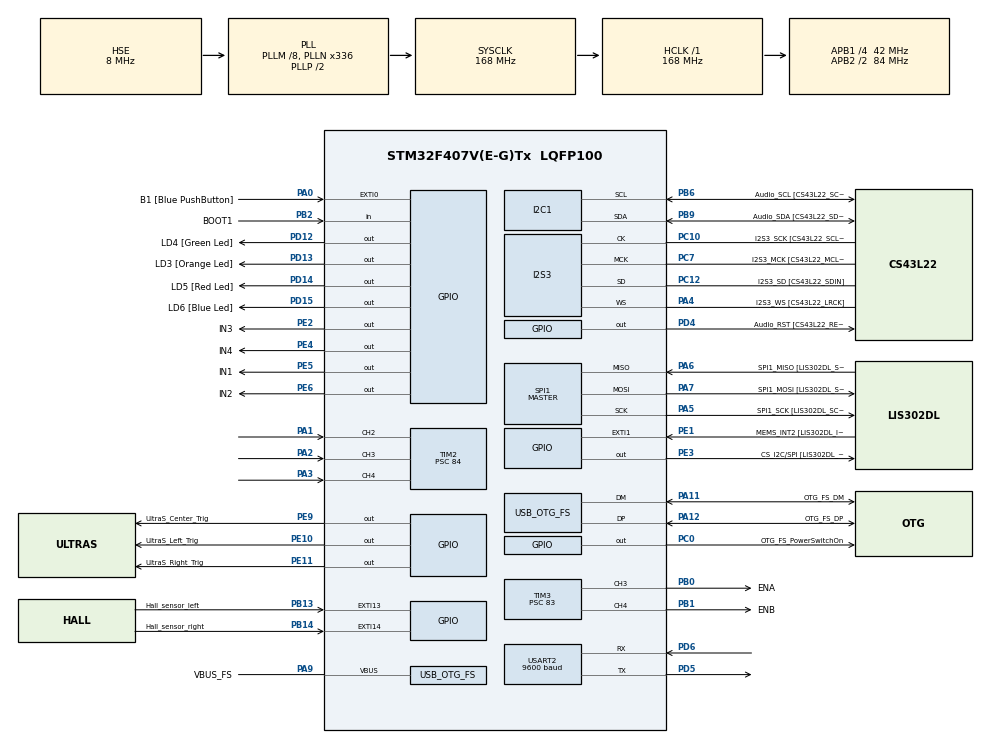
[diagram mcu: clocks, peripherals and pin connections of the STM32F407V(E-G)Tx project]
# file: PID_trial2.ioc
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I2S3.AudioFreq-Half_Duplex_Master=I2S_AUDIOFREQ_96K
I2S3.ErrorAudioFreq=-2.34 %
I2S3.ErrorAudioFreq-Half_Duplex_Master=0.8 %
I2S3.FullDuplexMode=I2S_FULLDUPLEXMODE_DISABLE
I2S3.Instance=SPI$Index
I2S3.RealAudioFreq=93.75 KHz
I2S3.RealAudioFreq-Half_Duplex_Master=96.774 KHz
I2S3.VirtualMode=I2S_MODE_MASTER
Mcu.Family=STM32F4
Mcu.Name=STM32F407V(E-G)Tx
Mcu.Package=LQFP100
NVIC.EXTI15_10_IRQn=true\:0\:0\:false\:false\:true\:true\:true\:true
NVIC.OTG_FS_IRQn=true\:0\:0\:false\:false\:true\:true\:true\:true
NVIC.PriorityGroup=NVIC_PRIORITYGROUP_0
NVIC.TIM2_IRQn=true\:0\:0\:false\:false\:true\:true\:true\:true
NVIC.TIM6_DAC_IRQn=true\:0\:0\:false\:false\:true\:true\:true\:true
NVIC.USART2_IRQn=true\:0\:0\:false\:false\:true\:true\:true\:true
PA0-WKUP.GPIO_Label=B1 [Blue PushButton]
PA0-WKUP.GPIO_ModeDefaultEXTI=GPIO_MODE_EVT_RISING
PA0-WKUP.GPIO_PuPd=GPIO_NOPULL
PA0-WKUP.Signal=GPXTI0
PA1.Signal=S_TIM2_CH2
PA10.GPIO_Label=OTG_FS_ID
PA10.GPIO_Mode=GPIO_MODE_AF_PP
PA10.GPIO_PuPd=GPIO_NOPULL
PA10.GPIO_Speed=GPIO_SPEED_FREQ_LOW
PA10.Signal=USB_OTG_FS_ID
PA11.GPIO_Label=OTG_FS_DM
PA11.GPIO_Mode=GPIO_MODE_AF_PP
PA11.GPIO_PuPd=GPIO_NOPULL
PA11.GPIO_Speed=GPIO_SPEED_FREQ_LOW
PA11.Mode=Host_Only
PA11.Signal=USB_OTG_FS_DM
PA12.GPIO_Label=OTG_FS_DP
PA12.GPIO_Mode=GPIO_MODE_AF_PP
PA12.GPIO_PuPd=GPIO_NOPULL
PA12.GPIO_Speed=GPIO_SPEED_FREQ_LOW
PA12.Mode=Host_Only
PA12.Signal=USB_OTG_FS_DP
PA13.GPIO_Label=SWDIO
PA13.Mode=Serial_Wire
PA13.Signal=SYS_JTMS-SWDIO
PA14.GPIO_Label=SWCLK
PA14.Mode=Serial_Wire
PA14.Signal=SYS_JTCK-SWCLK
PA2.Signal=S_TIM2_CH3
PA3.Signal=S_TIM2_CH4
PA4.GPIO_Label=I2S3_WS [CS43L22_LRCK]
PA4.GPIO_Mode=GPIO_MODE_AF_PP
PA4.GPIO_PuPd=GPIO_NOPULL
PA4.GPIO_Speed=GPIO_SPEED_FREQ_LOW
PA4.Mode=Half_Duplex_Master
PA4.Signal=I2S3_WS
PA5.GPIO_Label=SPI1_SCK [LIS302DL_SCL/SPC]
PA5.GPIO_Mode=GPIO_MODE_AF_PP
PA5.GPIO_PuPd=GPIO_NOPULL
PA5.GPIO_Speed=GPIO_SPEED_FREQ_LOW
PA5.Mode=Full_Duplex_Master
PA5.Signal=SPI1_SCK
PA6.GPIO_Label=SPI1_MISO [LIS302DL_SDO]
PA6.GPIO_Mode=GPIO_MODE_AF_PP
PA6.GPIO_PuPd=GPIO_NOPULL
PA6.GPIO_Speed=GPIO_SPEED_FREQ_LOW
PA6.Mode=Full_Duplex_Master
PA6.Signal=SPI1_MISO
PA7.GPIO_Label=SPI1_MOSI [LIS302DL_SDA/SDI/SDO]
PA7.GPIO_Mode=GPIO_MODE_AF_PP
PA7.GPIO_PuPd=GPIO_NOPULL
PA7.GPIO_Speed=GPIO_SPEED_FREQ_LOW
PA7.Mode=Full_Duplex_Master
PA7.Signal=SPI1_MOSI
PA9.GPIO_Label=VBUS_FS
PA9.GPIO_Mode=GPIO_MODE_INPUT
PA9.GPIO_PuPd=GPIO_NOPULL
PA9.Mode=Activate_VBUS
PA9.Signal=USB_OTG_FS_VBUS
PB0.GPIO_Label=ENA
PB0.Signal=S_TIM3_CH3
PB1.GPIO_Label=ENB
PB1.Signal=S_TIM3_CH4
PB10.GPIO_Label=CLK_IN [MP45DT02_CLK]
PB10.GPIO_Mode=GPIO_MODE_AF_PP
PB10.GPIO_PuPd=GPIO_NOPULL
PB10.GPIO_Speed=GPIO_SPEED_FREQ_LOW
PB10.Signal=I2S2_CK
PB13.GPIO_Label=Hall_sensor_left
PB13.GPIO_PuPd=GPIO_PULLUP
PB13.Signal=GPXTI13
PB14.GPIO_Label=Hall_sensor_right
PB14.GPIO_PuPd=GPIO_PULLUP
PB14.Signal=GPXTI14
PB2.GPIO_Label=BOOT1
PB2.GPIO_Mode=GPIO_MODE_INPUT
PB2.GPIO_PuPd=GPIO_NOPULL
PB2.Signal=GPIO_Input
PB3.GPIO_Label=SWO
PB3.Signal=SYS_JTDO-SWO
PB6.GPIO_Label=Audio_SCL [CS43L22_SCL]
PB6.GPIO_Mode=GPIO_MODE_AF_OD
PB6.GPIO_Pu=GPIO_PULLUP
PB6.GPIO_PuPd=GPIO_NOPULL
PB6.GPIO_Speed=GPIO_SPEED_FREQ_LOW
PB6.Mode=I2C
PB6.Signal=I2C1_SCL
PB9.GPIO_Label=Audio_SDA [CS43L22_SDA]
PB9.GPIO_Mode=GPIO_MODE_AF_OD
PB9.GPIO_Pu=GPIO_PULLUP
PB9.GPIO_PuPd=GPIO_NOPULL
PB9.GPIO_Speed=GPIO_SPEED_FREQ_LOW
PB9.Mode=I2C
PB9.Signal=I2C1_SDA
PC0.GPIO_Label=OTG_FS_PowerSwitchOn
PC0.GPIO_PuPd=GPIO_NOPULL
PC0.GPIO_Speed=GPIO_SPEED_FREQ_LOW
PC0.PinState=GPIO_PIN_SET
PC0.Signal=GPIO_Output
PC10.GPIO_Label=I2S3_SCK [CS43L22_SCLK]
PC10.GPIO_Mode=GPIO_MODE_AF_PP
PC10.GPIO_PuPd=GPIO_NOPULL
PC10.GPIO_Speed=GPIO_SPEED_FREQ_LOW
PC10.Mode=Half_Duplex_Master
PC10.Signal=I2S3_CK
PC12.GPIO_Label=I2S3_SD [CS43L22_SDIN]
PC12.GPIO_Mode=GPIO_MODE_AF_PP
PC12.GPIO_PuPd=GPIO_NOPULL
PC12.GPIO_Speed=GPIO_SPEED_FREQ_LOW
PC12.Mode=Half_Duplex_Master
PC12.Signal=I2S3_SD
PC14-OSC32_IN.GPIO_Label=PC14-OSC32_IN
PC14-OSC32_IN.Mode=LSE-External-Oscillator
PC14-OSC32_IN.Signal=RCC_OSC32_IN
PC15-OSC32_OUT.GPIO_Label=PC15-OSC32_OUT
PC15-OSC32_OUT.Mode=LSE-External-Oscillator
PC15-OSC32_OUT.Signal=RCC_OSC32_OUT
PC3.GPIO_Label=PDM_OUT [MP45DT02_DOUT]
PC3.GPIO_Mode=GPIO_MODE_AF_PP
PC3.GPIO_PuPd=GPIO_NOPULL
PC3.GPIO_Speed=GPIO_SPEED_FREQ_LOW
PC3.Signal=I2S2_SD
PC7.GPIO_Label=I2S3_MCK [CS43L22_MCLK]
PC7.GPIO_Mode=GPIO_MODE_AF_PP
PC7.GPIO_PuPd=GPIO_NOPULL
PC7.GPIO_Speed=GPIO_SPEED_FREQ_LOW
PC7.Mode=Master_Clock_Activated
PC7.Signal=I2S3_MCK
PD12.GPIO_Label=LD4 [Green Led]
PD12.GPIO_PuPd=GPIO_NOPULL
PD12.GPIO_Speed=GPIO_SPEED_FREQ_LOW
PD12.Signal=GPIO_Output
PD13.GPIO_Label=LD3 [Orange Led]
PD13.GPIO_PuPd=GPIO_NOPULL
PD13.GPIO_Speed=GPIO_SPEED_FREQ_LOW
PD13.Signal=GPIO_Output
PD14.GPIO_Label=LD5 [Red Led]
PD14.GPIO_PuPd=GPIO_NOPULL
PD14.GPIO_Speed=GPIO_SPEED_FREQ_LOW
PD14.Signal=GPIO_Output
PD15.GPIO_Label=LD6 [Blue Led]
PD15.GPIO_PuPd=GPIO_NOPULL
PD15.GPIO_Speed=GPIO_SPEED_FREQ_LOW
PD15.Signal=GPIO_Output
PD4.GPIO_Label=Audio_RST [CS43L22_RESET]
PD4.GPIO_PuPd=GPIO_NOPULL
PD4.GPIO_Speed=GPIO_SPEED_FREQ_LOW
PD4.Signal=GPIO_Output
PD5.Mode=Asynchronous
PD5.Signal=USART2_TX
PD6.Mode=Asynchronous
PD6.Signal=USART2_RX
PE1.GPIO_Label=MEMS_INT2 [LIS302DL_INT2]
PE1.GPIO_ModeDefaultEXTI=GPIO_MODE_EVT_RISING
PE1.GPIO_PuPd=GPIO_NOPULL
PE1.Signal=GPXTI1
PE10.GPIO_Label=UltraS_Left_Trig
PE10.Signal=GPIO_Output
PE11.GPIO_Label=UltraS_Right_Trig
PE11.Signal=GPIO_Output
PE2.GPIO_Label=IN3
PE2.Signal=GPIO_Output
PE3.GPIO_Label=CS_I2C/SPI [LIS302DL_CS_I2C/SPI]
PE3.GPIO_PuPd=GPIO_NOPULL
PE3.GPIO_Speed=GPIO_SPEED_FREQ_LOW
PE3.Signal=GPIO_Output
PE4.GPIO_Label=IN4
PE4.Signal=GPIO_Output
PE5.GPIO_Label=IN1
PE5.Signal=GPIO_Output
PE6.GPIO_Label=IN2
PE6.Signal=GPIO_Output
PE9.GPIO_Label=UltraS_Center_Trig
PE9.Signal=GPIO_Output
PH0-OSC_IN.GPIO_Label=PH0-OSC_IN
PH0-OSC_IN.Mode=HSE-External-Oscillator
PH0-OSC_IN.Signal=RCC_OSC_IN
PH1-OSC_OUT.GPIO_Label=PH1-OSC_OUT
PH1-OSC_OUT.Mode=HSE-External-Oscillator
PH1-OSC_OUT.Signal=RCC_OSC_OUT
ProjectManager.HeapSize=0x200
ProjectManager.StackSize=0x400
ProjectManager.TargetToolchain=CMake
RCC.48MHZClocksFreq_Value=48000000
RCC.AHBFreq_Value=168000000
RCC.APB1CLKDivider=RCC_HCLK_DIV4
RCC.APB1Freq_Value=42000000
RCC.APB1TimFreq_Value=84000000
RCC.APB2CLKDivider=RCC_HCLK_DIV2
RCC.APB2Freq_Value=84000000
RCC.APB2TimFreq_Value=168000000
RCC.CortexFreq_Value=168000000
RCC.HCLKFreq_Value=168000000
RCC.HSE_VALUE=8000000
RCC.HSI_VALUE=16000000
RCC.PLLM=8
RCC.PLLN=336
RCC.PLLQ=7
RCC.SYSCLKFreq_VALUE=168000000
RCC.SYSCLKSource=RCC_SYSCLKSOURCE_PLLCLK
RCC.VCOOutputFreq_Value=336000000
SH.S_TIM2_CH2.0=TIM2_CH2,Input_Capture2_from_TI2
SH.S_TIM2_CH3.0=TIM2_CH3,Input_Capture3_from_TI3
SH.S_TIM2_CH4.0=TIM2_CH4,Input_Capture4_from_TI4
SH.S_TIM3_CH3.0=TIM3_CH3,PWM Generation3 CH3
SH.S_TIM3_CH4.0=TIM3_CH4,PWM Generation4 CH4
SPI1.BaudRatePrescaler-Full_Duplex_Master=SPI_BAUDRATEPRESCALER_2
SPI1.CalculateBaudRate-Full_Duplex_Master=42.0 MBits/s
SPI1.Direction=SPI_DIRECTION_2LINES
SPI1.Mode=SPI_MODE_MASTER
SPI1.Mode-Full_Duplex_Master=SPI_MODE_MASTER
SPI1.VirtualType=VM_MASTER
TIM2.Channel-Input_Capture2_from_TI2=TIM_CHANNEL_2
TIM2.Channel-Input_Capture3_from_TI3=TIM_CHANNEL_3
TIM2.Channel-Input_Capture4_from_TI4=TIM_CHANNEL_4
TIM2.Prescaler=84
TIM3.Channel-PWM\ Generation3\ CH3=TIM_CHANNEL_3
TIM3.Channel-PWM\ Generation4\ CH4=TIM_CHANNEL_4
TIM3.Period=499
TIM3.Prescaler=83
TIM6.Period=999 
TIM6.Prescaler=8400 
USART2.BaudRate=9600
USART2.VirtualMode=VM_ASYNC
USB_HOST.BSP.number=1
USB_HOST.USBH_HandleTypeDef-CDC_FS=hUsbHostFS
USB_HOST.VirtualModeFS=Cdc
USB_HOST0.BSP.STBoard=false
USB_HOST0.BSP.api=Unknown
USB_HOST0.BSP.instance=PC0
USB_HOST0.BSP.ip=GPIO
USB_HOST0.BSP.mode=Output
USB_HOST0.BSP.name=Drive_VBUS_FS
USB_HOST0.BSP.solution=PC0
USB_OTG_FS.VirtualMode=Host_Only
USB_OTG_FS.phy_itface=HCD_PHY_EMBEDDED
VP_TIM2_VS_ClockSourceINT.Mode=Internal
VP_TIM6_VS_ClockSourceINT.Mode=Enable_Timer
VP_USB_HOST_VS_USB_HOST_CDC_FS.Mode=CDC_FS
board=STM32F407G-DISC1

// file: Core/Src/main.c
/* USER CODE BEGIN Header */
/**
  ******************************************************************************
  * @file           : main.c
  * @brief          : Maze-solver main — straight-line driving with PID
  *
  * Architecture overview
  * ─────────────────────
  *  • TIM2  (IC, 1 MHz tick)  — HC-SR04 echo capture (channels 2/3/4)
  *  • TIM3  (PWM, 2 kHz)      — Motor PWM (channels 3/4, period=499)
  *  • TIM6  (basic, 100 ms)   — PID control tick ISR
  *  • USART2 (9600 baud)      — HC-05 Bluetooth: receive stop/go commands,
  *                               transmit telemetry
  *  • EXTI  (GPIOB)           — YS-27 Hall sensors (left/right)
  *
  * PID loops (both run in TIM6 ISR, every 100 ms)
  * ───────────────────────────────────────────────
  *  pid_left  : drives LEFT_MOTOR  PWM so left  wheel tracks TARGET_SPEED
  *  pid_right : drives RIGHT_MOTOR PWM so right wheel tracks TARGET_SPEED
  *  Steering correction: if the two wheel speeds diverge, a small
  *  proportional trim is added/subtracted before writing the PWM values,
  *  keeping the robot on a straight line without a separate third PID.
  *
  * Bluetooth protocol (single ASCII byte)
  * ───────────────────────────────────────
  *  'Y' or 'y'  → stop (stopSignal = 1)
  *  'N' or 'n'  → run  (stopSignal = 0)
  *
  ******************************************************************************
  */
/* USER CODE END Header */
#include "main.h"
#include "usb_host.h"

/* USER CODE BEGIN Includes */
#include <stdio.h>
#include <string.h>
#include "HCSR04.h"
#include "pwm_motors.h"
#include "YS-27.h"
#include "pid.h"
/* USER CODE END Includes */

/* USER CODE BEGIN PD */

/* PID sample period — must match TIM6 period below */
#define PID_DT_S            0.10f       /* 100 ms in seconds                  */

/*
 * Target wheel speed in m/s.
 * Wheel circumference = π × 0.065 m ≈ 0.204 m
 * At PWM=300/499 ≈ 60 % duty the robot moves at roughly 0.2–0.3 m/s.
 * Start conservative; tune upward after PID is stable.
 */
#define TARGET_SPEED_MS     0.20f       /* m/s — tune to your robot           */

/*
 * Obstacle threshold: if the centre ultrasonic reads below this (cm),
 * the robot stops regardless of the stop signal.
 */
#define OBSTACLE_DIST_CM    5.0f

/*
 * Steering gain: proportional correction applied to left/right PWM
 * when wheel speeds diverge.  Units: PWM counts per (m/s of imbalance).
 * Keep small — too high causes oscillation.
 */
#define STEER_KP            40.0f

/* USER CODE END PD */

I2C_HandleTypeDef hi2c1;

I2S_HandleTypeDef hi2s3;

SPI_HandleTypeDef hspi1;

TIM_HandleTypeDef htim2;
TIM_HandleTypeDef htim3;
TIM_HandleTypeDef htim6;

UART_HandleTypeDef huart2;

/* USER CODE BEGIN PV */

/* Bluetooth receive byte */
static uint8_t rxData = 0;

/* Set by UART callback; cleared in main loop */
volatile uint8_t stopSignal = 0;

/* PID controllers — one per wheel */
static PID_t pid_left;
static PID_t pid_right;

/*
 * Flag set inside TIM6 ISR; main loop reads and clears it so that
 * Motor_SetSpeed() is always called from the main context rather than
 * from an ISR (avoids re-entrancy issues with the HAL PWM writes).
 */
volatile uint8_t pidTickReady = 0;

/* USER CODE END PV */

void SystemClock_Config(void);
static void MX_GPIO_Init(void);
static void MX_I2C1_Init(void);
static void MX_I2S3_Init(void);
static void MX_SPI1_Init(void);
static void MX_TIM3_Init(void);
static void MX_TIM2_Init(void);
static void MX_USART2_UART_Init(void);
static void MX_TIM6_Init(void);
void MX_USB_HOST_Process(void);

/* USER CODE BEGIN PFP */
static void SendTelemetry(void);
/* USER CODE END PFP */

/* USER CODE BEGIN 0 */

/* HC-SR04 echo — input capture */
void HAL_TIM_IC_CaptureCallback(TIM_HandleTypeDef *htim)
{
    if (htim->Instance == TIM2)
        HCSR04_ProcessEcho(htim);
}

/*
 * TIM6 period-elapsed — PID tick at 100 ms.
 * We only set the flag here; actual PWM writes happen in main().
 * Speed_Update() IS called here because it only writes to floats
 * (no HAL peripheral access) and must be tightly coupled to the
 * sample period.
 */
void HAL_TIM_PeriodElapsedCallback(TIM_HandleTypeDef *htim)
{
    if (htim->Instance == TIM6)
    {
        Speed_Update(PID_DT_S);   /* latch & reset Hall pulse counters */
        pidTickReady = 1;         /* signal main loop to run PID       */
    }
}

/* YS-27 Hall sensors — EXTI */
void HAL_GPIO_EXTI_Callback(uint16_t GPIO_Pin)
{
    Hall_sensor_counter(GPIO_Pin);
}

/* Bluetooth receive — re-arm immediately */
void HAL_UART_RxCpltCallback(UART_HandleTypeDef *huart)
{
    if (huart->Instance == USART2)
    {
        switch (rxData)
        {
            case 'Y': case 'y':
                stopSignal = 0;
                break;
            case 'N': case 'n':
                stopSignal = 1;
                break;
            default:
                break;
        }
        /* Re-arm interrupt receive */
        HAL_UART_Receive_IT(&huart2, &rxData, 1);
    }
}

/* USER CODE END 0 */

int main(void)
{

  /* MCU Configuration--------------------------------------------------------*/

  /* Reset of all peripherals, Initializes the Flash interface and the Systick. */
  HAL_Init();

  /* Configure the system clock */
  SystemClock_Config();

  /* Initialize all configured peripherals */
  MX_GPIO_Init();
  MX_I2C1_Init();
  MX_I2S3_Init();
  MX_SPI1_Init();
  MX_TIM3_Init();
  MX_USB_HOST_Init();
  MX_TIM2_Init();
  MX_USART2_UART_Init();
  MX_TIM6_Init();
  /* USER CODE BEGIN 2 */

    /* --- Ultrasonic --- */
    DWT_Init();
    HAL_TIM_IC_Start_IT(&htim2, TIM_CHANNEL_2);
    HAL_TIM_IC_Start_IT(&htim2, TIM_CHANNEL_3);
    HAL_TIM_IC_Start_IT(&htim2, TIM_CHANNEL_4);

    /* --- Motors --- */
    Motor_Init(&htim3);
    Motor_ChangeDirection(FORWARD_DIR);

    /* --- PID controllers ---
     *
     * Initial tuning values — START HERE, adjust empirically:
     *
     *   Kp = 150  : proportional gain (PWM counts per m/s of error)
     *   Ki =  80  : integral gain     (eliminates steady-state speed error)
     *   Kd =  10  : derivative gain   (damps oscillation)
     *
     * Tuning procedure (do this on the bench with wheels lifted):
     *   1. Set Ki=0, Kd=0. Increase Kp until wheels spin at roughly
     *      the right speed but oscillate (overshoot + undershoot).
     *   2. Reduce Kp to ~70 % of that value. Add Kd to kill oscillation.
     *   3. Add Ki to remove the remaining speed offset.
     *
     * Output limits map directly to PWM counts [0, PWM_MAX=499].
     */
    PID_Init(&pid_left,  150.0f, 80.0f, 10.0f, 0.0f, (float)PWM_MAX);
    PID_Init(&pid_right, 150.0f, 80.0f, 10.0f, 0.0f, (float)PWM_MAX);

    /* --- Bluetooth --- */
    HAL_UART_Receive_IT(&huart2, &rxData, 1);

    /* --- Start PID timer --- */
    HAL_TIM_Base_Start_IT(&htim6);

  /* USER CODE END 2 */

  /* Infinite loop */
  /* USER CODE BEGIN WHILE */
  while (1)
  {
        /* Always service ultrasonic state machine and USB stack */
        Ultrasonic_Update();
        MX_USB_HOST_Process();

        /* ---- PID tick ---- */
        if (pidTickReady)
        {
            pidTickReady = 0;   /* clear flag first (ISR might re-set it) */

            float leftSpeed  = getSpeed(LEFT_WHEEL);
            float rightSpeed = getSpeed(RIGHT_WHEEL);

            /*
             * Obstacle check: if anything is within OBSTACLE_DIST_CM
             * in front, override the stop signal.
             */
            float frontDist = HCSR04_GetDistance(CENTER);
            uint8_t obstacleBlocking = (frontDist < OBSTACLE_DIST_CM) ? 1 : 0;

            if (stopSignal || obstacleBlocking)
            {
                /* ---- STOPPED ---- */
                Motor_Stop();
                PID_Reset(&pid_left);
                PID_Reset(&pid_right);

                /* Visual indicator: LD6 on = stopped */
                HAL_GPIO_WritePin(LD6_GPIO_Port, LD6_Pin, GPIO_PIN_SET);
                HAL_GPIO_WritePin(LD4_GPIO_Port, LD4_Pin, GPIO_PIN_RESET);
            }
            else
            {
                /* ---- RUNNING — straight-line PID ---- */
                HAL_GPIO_WritePin(LD6_GPIO_Port, LD6_Pin, GPIO_PIN_RESET);
                HAL_GPIO_WritePin(LD4_GPIO_Port, LD4_Pin, GPIO_PIN_SET);

                /* Ensure direction is forward */
                if (currentMotorDir != FORWARD_DIR)
                    Motor_ChangeDirection(FORWARD_DIR);

                /* Independent speed PID for each wheel */
                float pwm_left  = PID_Compute(&pid_left,  TARGET_SPEED_MS,
                                               leftSpeed,  PID_DT_S);
                float pwm_right = PID_Compute(&pid_right, TARGET_SPEED_MS,
                                               rightSpeed, PID_DT_S);

                /*
                 * Steering trim
                 * ─────────────
                 * Even with independent speed PIDs the robot can drift if
                 * one wheel's Hall sensor has slightly different resolution
                 * or if the surface is asymmetric.  We add a small
                 * proportional correction based on the speed imbalance:
                 *
                 *   steer = STEER_KP × (speedLeft − speedRight)
                 *
                 * If the left wheel is faster → steer > 0
                 *   → subtract from left, add to right  (turn left slightly)
                 * If the right wheel is faster → steer < 0
                 *   → add to left, subtract from right  (turn right slightly)
                 *
                 * This keeps the output within [0, PWM_MAX].
                 */
                float steer = STEER_KP * (leftSpeed - rightSpeed);

                float pwm_l_trimmed = pwm_left  - steer;
                float pwm_r_trimmed = pwm_right + steer;

                /* Clamp after trim */
                if (pwm_l_trimmed < 0.0f)        pwm_l_trimmed = 0.0f;
                if (pwm_l_trimmed > PWM_MAX)      pwm_l_trimmed = PWM_MAX;
                if (pwm_r_trimmed < 0.0f)         pwm_r_trimmed = 0.0f;
                if (pwm_r_trimmed > PWM_MAX)      pwm_r_trimmed = PWM_MAX;

                Motor_SetSpeed(LEFT_MOTOR,  (uint16_t)pwm_l_trimmed);
                Motor_SetSpeed(RIGHT_MOTOR, (uint16_t)pwm_r_trimmed);

                /* Send telemetry over Bluetooth every PID tick */
                SendTelemetry();
            }
        }
    /* USER CODE END WHILE */
    MX_USB_HOST_Process();

    }
}

void SystemClock_Config(void)
{
  RCC_OscInitTypeDef RCC_OscInitStruct = {0};
  RCC_ClkInitTypeDef RCC_ClkInitStruct = {0};

  /** Configure the main internal regulator output voltage
  */
  __HAL_RCC_PWR_CLK_ENABLE();
  __HAL_PWR_VOLTAGESCALING_CONFIG(PWR_REGULATOR_VOLTAGE_SCALE1);

  /** Initializes the RCC Oscillators according to the specified parameters
  * in the RCC_OscInitTypeDef structure.
  */
  RCC_OscInitStruct.OscillatorType = RCC_OSCILLATORTYPE_HSE;
  RCC_OscInitStruct.HSEState = RCC_HSE_ON;
  RCC_OscInitStruct.PLL.PLLState = RCC_PLL_ON;
  RCC_OscInitStruct.PLL.PLLSource = RCC_PLLSOURCE_HSE;
  RCC_OscInitStruct.PLL.PLLM = 8;
  RCC_OscInitStruct.PLL.PLLN = 336;
  RCC_OscInitStruct.PLL.PLLP = RCC_PLLP_DIV2;
  RCC_OscInitStruct.PLL.PLLQ = 7;
  if (HAL_RCC_OscConfig(&RCC_OscInitStruct) != HAL_OK)
  {
    Error_Handler();
  }

  /** Initializes the CPU, AHB and APB buses clocks
  */
  RCC_ClkInitStruct.ClockType = RCC_CLOCKTYPE_HCLK|RCC_CLOCKTYPE_SYSCLK
                              |RCC_CLOCKTYPE_PCLK1|RCC_CLOCKTYPE_PCLK2;
  RCC_ClkInitStruct.SYSCLKSource = RCC_SYSCLKSOURCE_PLLCLK;
  RCC_ClkInitStruct.AHBCLKDivider = RCC_SYSCLK_DIV1;
  RCC_ClkInitStruct.APB1CLKDivider = RCC_HCLK_DIV4;
  RCC_ClkInitStruct.APB2CLKDivider = RCC_HCLK_DIV2;

  if (HAL_RCC_ClockConfig(&RCC_ClkInitStruct, FLASH_LATENCY_5) != HAL_OK)
  {
    Error_Handler();
  }
}

static void MX_I2C1_Init(void)
{

  hi2c1.Instance = I2C1;
  hi2c1.Init.ClockSpeed = 100000;
  hi2c1.Init.DutyCycle = I2C_DUTYCYCLE_2;
  hi2c1.Init.OwnAddress1 = 0;
  hi2c1.Init.AddressingMode = I2C_ADDRESSINGMODE_7BIT;
  hi2c1.Init.DualAddressMode = I2C_DUALADDRESS_DISABLE;
  hi2c1.Init.OwnAddress2 = 0;
  hi2c1.Init.GeneralCallMode = I2C_GENERALCALL_DISABLE;
  hi2c1.Init.NoStretchMode = I2C_NOSTRETCH_DISABLE;
  if (HAL_I2C_Init(&hi2c1) != HAL_OK)
  {
    Error_Handler();
  }

}

static void MX_I2S3_Init(void)
{

  hi2s3.Instance = SPI3;
  hi2s3.Init.Mode = I2S_MODE_MASTER_TX;
  hi2s3.Init.Standard = I2S_STANDARD_PHILIPS;
  hi2s3.Init.DataFormat = I2S_DATAFORMAT_16B;
  hi2s3.Init.MCLKOutput = I2S_MCLKOUTPUT_ENABLE;
  hi2s3.Init.AudioFreq = I2S_AUDIOFREQ_96K;
  hi2s3.Init.CPOL = I2S_CPOL_LOW;
  hi2s3.Init.ClockSource = I2S_CLOCK_PLL;
  hi2s3.Init.FullDuplexMode = I2S_FULLDUPLEXMODE_DISABLE;
  if (HAL_I2S_Init(&hi2s3) != HAL_OK)
  {
    Error_Handler();
  }

}

static void MX_SPI1_Init(void)
{

  /* SPI1 parameter configuration*/
  hspi1.Instance = SPI1;
  hspi1.Init.Mode = SPI_MODE_MASTER;
  hspi1.Init.Direction = SPI_DIRECTION_2LINES;
  hspi1.Init.DataSize = SPI_DATASIZE_8BIT;
  hspi1.Init.CLKPolarity = SPI_POLARITY_LOW;
  hspi1.Init.CLKPhase = SPI_PHASE_1EDGE;
  hspi1.Init.NSS = SPI_NSS_SOFT;
  hspi1.Init.BaudRatePrescaler = SPI_BAUDRATEPRESCALER_2;
  hspi1.Init.FirstBit = SPI_FIRSTBIT_MSB;
  hspi1.Init.TIMode = SPI_TIMODE_DISABLE;
  hspi1.Init.CRCCalculation = SPI_CRCCALCULATION_DISABLE;
  hspi1.Init.CRCPolynomial = 10;
  if (HAL_SPI_Init(&hspi1) != HAL_OK)
  {
    Error_Handler();
  }

}

static void MX_TIM2_Init(void)
{

  TIM_ClockConfigTypeDef sClockSourceConfig = {0};
  TIM_MasterConfigTypeDef sMasterConfig = {0};
  TIM_IC_InitTypeDef sConfigIC = {0};

  htim2.Instance = TIM2;
  htim2.Init.Prescaler = 84;
  htim2.Init.CounterMode = TIM_COUNTERMODE_UP;
  htim2.Init.Period = 4294967295;
  htim2.Init.ClockDivision = TIM_CLOCKDIVISION_DIV1;
  htim2.Init.AutoReloadPreload = TIM_AUTORELOAD_PRELOAD_DISABLE;
  if (HAL_TIM_Base_Init(&htim2) != HAL_OK)
  {
    Error_Handler();
  }
  sClockSourceConfig.ClockSource = TIM_CLOCKSOURCE_INTERNAL;
  if (HAL_TIM_ConfigClockSource(&htim2, &sClockSourceConfig) != HAL_OK)
  {
    Error_Handler();
  }
  if (HAL_TIM_IC_Init(&htim2) != HAL_OK)
  {
    Error_Handler();
  }
  sMasterConfig.MasterOutputTrigger = TIM_TRGO_RESET;
  sMasterConfig.MasterSlaveMode = TIM_MASTERSLAVEMODE_DISABLE;
  if (HAL_TIMEx_MasterConfigSynchronization(&htim2, &sMasterConfig) != HAL_OK)
  {
    Error_Handler();
  }
  sConfigIC.ICPolarity = TIM_INPUTCHANNELPOLARITY_RISING;
  sConfigIC.ICSelection = TIM_ICSELECTION_DIRECTTI;
  sConfigIC.ICPrescaler = TIM_ICPSC_DIV1;
  sConfigIC.ICFilter = 0;
  if (HAL_TIM_IC_ConfigChannel(&htim2, &sConfigIC, TIM_CHANNEL_2) != HAL_OK)
  {
    Error_Handler();
  }
  if (HAL_TIM_IC_ConfigChannel(&htim2, &sConfigIC, TIM_CHANNEL_3) != HAL_OK)
  {
    Error_Handler();
  }
  if (HAL_TIM_IC_ConfigChannel(&htim2, &sConfigIC, TIM_CHANNEL_4) != HAL_OK)
  {
    Error_Handler();
  }

}

static void MX_TIM3_Init(void)
{

  TIM_MasterConfigTypeDef sMasterConfig = {0};
  TIM_OC_InitTypeDef sConfigOC = {0};

  htim3.Instance = TIM3;
  htim3.Init.Prescaler = 83;
  htim3.Init.CounterMode = TIM_COUNTERMODE_UP;
  htim3.Init.Period = 499;
  htim3.Init.ClockDivision = TIM_CLOCKDIVISION_DIV1;
  htim3.Init.AutoReloadPreload = TIM_AUTORELOAD_PRELOAD_DISABLE;
  if (HAL_TIM_PWM_Init(&htim3) != HAL_OK)
  {
    Error_Handler();
  }
  sMasterConfig.MasterOutputTrigger = TIM_TRGO_RESET;
  sMasterConfig.MasterSlaveMode = TIM_MASTERSLAVEMODE_DISABLE;
  if (HAL_TIMEx_MasterConfigSynchronization(&htim3, &sMasterConfig) != HAL_OK)
  {
    Error_Handler();
  }
  sConfigOC.OCMode = TIM_OCMODE_PWM1;
  sConfigOC.Pulse = 0;
  sConfigOC.OCPolarity = TIM_OCPOLARITY_HIGH;
  sConfigOC.OCFastMode = TIM_OCFAST_DISABLE;
  if (HAL_TIM_PWM_ConfigChannel(&htim3, &sConfigOC, TIM_CHANNEL_3) != HAL_OK)
  {
    Error_Handler();
  }
  if (HAL_TIM_PWM_ConfigChannel(&htim3, &sConfigOC, TIM_CHANNEL_4) != HAL_OK)
  {
    Error_Handler();
  }
  HAL_TIM_MspPostInit(&htim3);

}

static void MX_TIM6_Init(void)
{

  TIM_MasterConfigTypeDef sMasterConfig = {0};

  htim6.Instance = TIM6;
  htim6.Init.Prescaler = 8400 ;
  htim6.Init.CounterMode = TIM_COUNTERMODE_UP;
  htim6.Init.Period = 999 ;
  htim6.Init.AutoReloadPreload = TIM_AUTORELOAD_PRELOAD_DISABLE;
  if (HAL_TIM_Base_Init(&htim6) != HAL_OK)
  {
    Error_Handler();
  }
  sMasterConfig.MasterOutputTrigger = TIM_TRGO_RESET;
  sMasterConfig.MasterSlaveMode = TIM_MASTERSLAVEMODE_DISABLE;
  if (HAL_TIMEx_MasterConfigSynchronization(&htim6, &sMasterConfig) != HAL_OK)
  {
    Error_Handler();
  }

}

static void MX_USART2_UART_Init(void)
{

  huart2.Instance = USART2;
  huart2.Init.BaudRate = 9600;
  huart2.Init.WordLength = UART_WORDLENGTH_8B;
  huart2.Init.StopBits = UART_STOPBITS_1;
  huart2.Init.Parity = UART_PARITY_NONE;
  huart2.Init.Mode = UART_MODE_TX_RX;
  huart2.Init.HwFlowCtl = UART_HWCONTROL_NONE;
  huart2.Init.OverSampling = UART_OVERSAMPLING_16;
  if (HAL_UART_Init(&huart2) != HAL_OK)
  {
    Error_Handler();
  }

}

static void MX_GPIO_Init(void)
{
  GPIO_InitTypeDef GPIO_InitStruct = {0};

  /* GPIO Ports Clock Enable */
  __HAL_RCC_GPIOE_CLK_ENABLE();
  __HAL_RCC_GPIOC_CLK_ENABLE();
  __HAL_RCC_GPIOH_CLK_ENABLE();
  __HAL_RCC_GPIOA_CLK_ENABLE();
  __HAL_RCC_GPIOB_CLK_ENABLE();
  __HAL_RCC_GPIOD_CLK_ENABLE();

  /*Configure GPIO pin Output Level */
  HAL_GPIO_WritePin(GPIOE, IN3_Pin|CS_I2C_SPI_Pin|IN4_Pin|IN1_Pin
                          |IN2_Pin|UltraS_Center_Trig_Pin|UltraS_Left_Trig_Pin|UltraS_Right_Trig_Pin, GPIO_PIN_RESET);

  /*Configure GPIO pin Output Level */
  HAL_GPIO_WritePin(OTG_FS_PowerSwitchOn_GPIO_Port, OTG_FS_PowerSwitchOn_Pin, GPIO_PIN_SET);

  /*Configure GPIO pin Output Level */
  HAL_GPIO_WritePin(GPIOD, LD4_Pin|LD3_Pin|LD5_Pin|LD6_Pin
                          |Audio_RST_Pin, GPIO_PIN_RESET);

  /*Configure GPIO pins : IN3_Pin CS_I2C_SPI_Pin IN4_Pin IN1_Pin
                           IN2_Pin UltraS_Center_Trig_Pin UltraS_Left_Trig_Pin UltraS_Right_Trig_Pin */
  GPIO_InitStruct.Pin = IN3_Pin|CS_I2C_SPI_Pin|IN4_Pin|IN1_Pin
                          |IN2_Pin|UltraS_Center_Trig_Pin|UltraS_Left_Trig_Pin|UltraS_Right_Trig_Pin;
  GPIO_InitStruct.Mode = GPIO_MODE_OUTPUT_PP;
  GPIO_InitStruct.Pull = GPIO_NOPULL;
  GPIO_InitStruct.Speed = GPIO_SPEED_FREQ_LOW;
  HAL_GPIO_Init(GPIOE, &GPIO_InitStruct);

  /*Configure GPIO pin : OTG_FS_PowerSwitchOn_Pin */
  GPIO_InitStruct.Pin = OTG_FS_PowerSwitchOn_Pin;
  GPIO_InitStruct.Mode = GPIO_MODE_OUTPUT_PP;
  GPIO_InitStruct.Pull = GPIO_NOPULL;
  GPIO_InitStruct.Speed = GPIO_SPEED_FREQ_LOW;
  HAL_GPIO_Init(OTG_FS_PowerSwitchOn_GPIO_Port, &GPIO_InitStruct);

  /*Configure GPIO pin : PDM_OUT_Pin */
  GPIO_InitStruct.Pin = PDM_OUT_Pin;
  GPIO_InitStruct.Mode = GPIO_MODE_AF_PP;
  GPIO_InitStruct.Pull = GPIO_NOPULL;
  GPIO_InitStruct.Speed = GPIO_SPEED_FREQ_LOW;
  GPIO_InitStruct.Alternate = GPIO_AF5_SPI2;
  HAL_GPIO_Init(PDM_OUT_GPIO_Port, &GPIO_InitStruct);

  /*Configure GPIO pin : B1_Pin */
  GPIO_InitStruct.Pin = B1_Pin;
  GPIO_InitStruct.Mode = GPIO_MODE_EVT_RISING;
  GPIO_InitStruct.Pull = GPIO_NOPULL;
  HAL_GPIO_Init(B1_GPIO_Port, &GPIO_InitStruct);

  /*Configure GPIO pin : BOOT1_Pin */
  GPIO_InitStruct.Pin = BOOT1_Pin;
  GPIO_InitStruct.Mode = GPIO_MODE_INPUT;
  GPIO_InitStruct.Pull = GPIO_NOPULL;
  HAL_GPIO_Init(BOOT1_GPIO_Port, &GPIO_InitStruct);

  /*Configure GPIO pin : CLK_IN_Pin */
  GPIO_InitStruct.Pin = CLK_IN_Pin;
  GPIO_InitStruct.Mode = GPIO_MODE_AF_PP;
  GPIO_InitStruct.Pull = GPIO_NOPULL;
  GPIO_InitStruct.Speed = GPIO_SPEED_FREQ_LOW;
  GPIO_InitStruct.Alternate = GPIO_AF5_SPI2;
  HAL_GPIO_Init(CLK_IN_GPIO_Port, &GPIO_InitStruct);

  /*Configure GPIO pins : Hall_sensor_left_Pin Hall_sensor_right_Pin */
  GPIO_InitStruct.Pin = Hall_sensor_left_Pin|Hall_sensor_right_Pin;
  GPIO_InitStruct.Mode = GPIO_MODE_IT_RISING;
  GPIO_InitStruct.Pull = GPIO_PULLUP;
  HAL_GPIO_Init(GPIOB, &GPIO_InitStruct);

  /*Configure GPIO pins : LD4_Pin LD3_Pin LD5_Pin LD6_Pin
                           Audio_RST_Pin */
  GPIO_InitStruct.Pin = LD4_Pin|LD3_Pin|LD5_Pin|LD6_Pin
                          |Audio_RST_Pin;
  GPIO_InitStruct.Mode = GPIO_MODE_OUTPUT_PP;
  GPIO_InitStruct.Pull = GPIO_NOPULL;
  GPIO_InitStruct.Speed = GPIO_SPEED_FREQ_LOW;
  HAL_GPIO_Init(GPIOD, &GPIO_InitStruct);

  /*Configure GPIO pin : MEMS_INT2_Pin */
  GPIO_InitStruct.Pin = MEMS_INT2_Pin;
  GPIO_InitStruct.Mode = GPIO_MODE_EVT_RISING;
  GPIO_InitStruct.Pull = GPIO_NOPULL;
  HAL_GPIO_Init(MEMS_INT2_GPIO_Port, &GPIO_InitStruct);

  /* EXTI interrupt init*/
  HAL_NVIC_SetPriority(EXTI15_10_IRQn, 0, 0);
  HAL_NVIC_EnableIRQ(EXTI15_10_IRQn);

}

/* USER CODE BEGIN 4 */
/* ============================================================
 * SendTelemetry  —  transmit a compact CSV line over UART/BT
 *
 * Format:  "L:<speed>,R:<speed>,PL:<pwm>,PR:<pwm>,D:<dist>\r\n"
 * Example: "L:0.19,R:0.20,PL:287,PR:301,D:84.3\r\n"
 *
 * Kept short (≤ 48 chars) so it fits comfortably at 9600 baud
 * within one 100 ms PID period.
 * ============================================================ */
static void SendTelemetry(void)
{
  char buf[64];
  int len = snprintf(buf, sizeof(buf),
      "L:%.2f,R:%.2f,PL:%u,PR:%u,D:%.1f\r\n",
      getSpeed(LEFT_WHEEL),
      getSpeed(RIGHT_WHEEL),
      (unsigned)pid_left.output,
      (unsigned)pid_right.output,
      HCSR04_GetDistance(CENTER));

  /* Non-blocking poll-mode transmit — acceptable at 100 ms cadence */
  HAL_UART_Transmit(&huart2, (uint8_t *)buf, (uint16_t)len, 10);
}
/* USER CODE END 4 */

void Error_Handler(void)
{
  __disable_irq();
  while (1)
  {
  }
}
